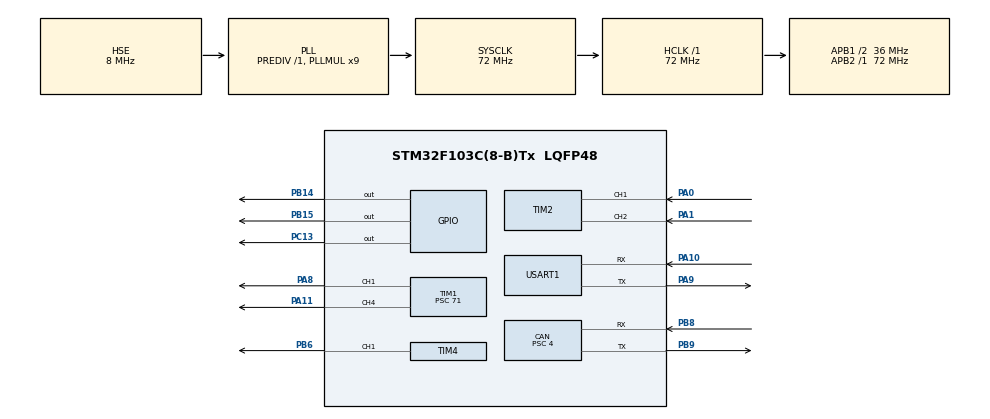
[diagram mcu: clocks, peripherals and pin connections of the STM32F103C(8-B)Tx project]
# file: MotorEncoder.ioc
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CAN.BS1=CAN_BS1_15TQ
CAN.BS2=CAN_BS2_2TQ
CAN.CalculateBaudRate=500000
CAN.CalculateTimeBit=2000
CAN.CalculateTimeQuantum=111.11111111111111
CAN.Mode=CAN_MODE_NORMAL
CAN.Prescaler=4
FREERTOS.Tasks01=mControl_PIDTas,24,128,Control_PIDTask,Default,NULL,Dynamic,NULL,NULL;mCAN_RecTask,8,128,CAN_RecTask,Default,NULL,Dynamic,NULL,NULL;myCAN_TransmitT,8,128,CAN_TransmitTask,Default,NULL,Dynamic,NULL,NULL
Mcu.Family=STM32F1
Mcu.Name=STM32F103C(8-B)Tx
Mcu.Package=LQFP48
Mcu.UserConstants=Servo_PWM,500
NVIC.PriorityGroup=NVIC_PRIORITYGROUP_4
NVIC.TIM2_IRQn=true\:5\:0\:false\:false\:true\:true\:true\:true\:true
NVIC.TIM3_IRQn=true\:15\:0\:false\:false\:true\:false\:false\:true\:true
NVIC.TimeBase=TIM3_IRQn
NVIC.TimeBaseIP=TIM3
NVIC.USB_HP_CAN1_TX_IRQn=true\:5\:0\:false\:false\:true\:true\:true\:true\:true
NVIC.USB_LP_CAN1_RX0_IRQn=true\:5\:0\:false\:false\:true\:true\:true\:true\:true
PA0-WKUP.Signal=S_TIM2_CH1_ETR
PA1.Signal=S_TIM2_CH2
PA10.Mode=Asynchronous
PA10.Signal=USART1_RX
PA11.Signal=S_TIM1_CH4
PA13.Mode=Serial_Wire
PA13.Signal=SYS_JTMS-SWDIO
PA14.Mode=Serial_Wire
PA14.Signal=SYS_JTCK-SWCLK
PA8.Signal=S_TIM1_CH1
PA9.Mode=Asynchronous
PA9.Signal=USART1_TX
PB14.Signal=GPIO_Output
PB15.Signal=GPIO_Output
PB6.Signal=S_TIM4_CH1
PB8.Mode=CAN_Activate
PB8.Signal=CAN_RX
PB9.Mode=CAN_Activate
PB9.Signal=CAN_TX
PC13-TAMPER-RTC.Signal=GPIO_Output
PD0-OSC_IN.Mode=HSE-External-Oscillator
PD0-OSC_IN.Signal=RCC_OSC_IN
PD1-OSC_OUT.Mode=HSE-External-Oscillator
PD1-OSC_OUT.Signal=RCC_OSC_OUT
ProjectManager.HeapSize=0x200
ProjectManager.StackSize=0x400
ProjectManager.TargetToolchain=STM32CubeIDE
RCC.AHBFreq_Value=72000000
RCC.APB1CLKDivider=RCC_HCLK_DIV2
RCC.APB1Freq_Value=36000000
RCC.APB1TimFreq_Value=72000000
RCC.APB2Freq_Value=72000000
RCC.APB2TimFreq_Value=72000000
RCC.HCLKFreq_Value=72000000
RCC.PLLMUL=RCC_PLL_MUL9
RCC.PLLSourceVirtual=RCC_PLLSOURCE_HSE
RCC.SYSCLKFreq_VALUE=72000000
RCC.SYSCLKSource=RCC_SYSCLKSOURCE_PLLCLK
RCC.USBFreq_Value=72000000
SH.S_TIM1_CH1.0=TIM1_CH1,PWM Generation1 CH1
SH.S_TIM1_CH4.0=TIM1_CH4,PWM Generation4 CH4
SH.S_TIM2_CH1_ETR.0=TIM2_CH1,Encoder_Interface
SH.S_TIM2_CH2.0=TIM2_CH2,Encoder_Interface
SH.S_TIM4_CH1.0=TIM4_CH1,PWM Generation1 CH1
TIM1.Channel-PWM\ Generation1\ CH1=TIM_CHANNEL_1
TIM1.Channel-PWM\ Generation4\ CH4=TIM_CHANNEL_4
TIM1.Period=99
TIM1.Prescaler=71
TIM2.EncoderMode=TIM_ENCODERMODE_TI12
TIM4.Channel-PWM\ Generation1\ CH1=TIM_CHANNEL_1
TIM4.Period=1000
TIM4.Prescaler=1439
USART1.VirtualMode=VM_ASYNC
VP_FREERTOS_VS_CMSIS_V2.Mode=CMSIS_V2
VP_SYS_VS_tim3.Mode=TIM3
VP_TIM1_VS_ClockSourceINT.Mode=Internal
VP_TIM4_VS_ClockSourceINT.Mode=Internal
board=custom

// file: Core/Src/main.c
/* USER CODE BEGIN Header */
/**
  ******************************************************************************
  * @file           : main.c
  * @brief          : Main program body
  ******************************************************************************
  * @attention
  *
  * Copyright (c) 2023 STMicroelectronics.
  * All rights reserved.
  *
  * This software is licensed under terms that can be found in the LICENSE file
  * in the root directory of this software component.
  * If no LICENSE file comes wi th this software, it is provided AS-IS.
  *
  ******************************************************************************
  */
/* USER CODE END Header */
#include "main.h"
#include "cmsis_os.h"
#include "can.h"
#include "tim.h"
#include "usart.h"
#include "gpio.h"

/* USER CODE BEGIN Includes */
#include <stdio.h>
/* USER CODE END Includes */

void SystemClock_Config(void);
void MX_FREERTOS_Init(void);

int main(void)
{

  /* MCU Configuration--------------------------------------------------------*/

  /* Reset of all peripherals, Initializes the Flash interface and the Systick. */
  HAL_Init();

  /* Configure the system clock */
  SystemClock_Config();

  /* Initialize all configured peripherals */
  MX_GPIO_Init();
  MX_TIM2_Init();
  MX_TIM1_Init();
  MX_TIM4_Init();
  MX_CAN_Init();
  MX_USART1_UART_Init();
  /* USER CODE BEGIN 2 */
  HAL_TIM_PWM_Start(&htim4, TIM_CHANNEL_1);
  HAL_TIM_PWM_Start(&htim1, TIM_CHANNEL_1);
  HAL_TIM_PWM_Start(&htim1, TIM_CHANNEL_4);
  HAL_TIM_Encoder_Start_IT(&htim2, TIM_CHANNEL_ALL);
  CAN_Config_filtering();
 if(HAL_CAN_ActivateNotification(&hcan, CAN_IT_TX_MAILBOX_EMPTY|CAN_IT_RX_FIFO0_MSG_PENDING)!=HAL_OK){
	 printf("Start CAN IT Error");
 }
  if(HAL_CAN_Start(&hcan)!=HAL_OK){
	 printf("Start CAN Error");
 }
  /* USER CODE END 2 */

  /* Init scheduler */
  osKernelInitialize();

  /* Call init function for freertos objects (in freertos.c) */
  MX_FREERTOS_Init();

  /* Start scheduler */
  osKernelStart();

  /* We should never get here as control is now taken by the scheduler */
  /* Infinite loop */
  while (1)
   {

   }
}

void SystemClock_Config(void)
{
  RCC_OscInitTypeDef RCC_OscInitStruct = {0};
  RCC_ClkInitTypeDef RCC_ClkInitStruct = {0};

  /** Initializes the RCC Oscillators according to the specified parameters
  * in the RCC_OscInitTypeDef structure.
  */
  RCC_OscInitStruct.OscillatorType = RCC_OSCILLATORTYPE_HSE;
  RCC_OscInitStruct.HSEState = RCC_HSE_ON;
  RCC_OscInitStruct.HSEPredivValue = RCC_HSE_PREDIV_DIV1;
  RCC_OscInitStruct.HSIState = RCC_HSI_ON;
  RCC_OscInitStruct.PLL.PLLState = RCC_PLL_ON;
  RCC_OscInitStruct.PLL.PLLSource = RCC_PLLSOURCE_HSE;
  RCC_OscInitStruct.PLL.PLLMUL = RCC_PLL_MUL9;
  if (HAL_RCC_OscConfig(&RCC_OscInitStruct) != HAL_OK)
  {
    Error_Handler();
  }

  /** Initializes the CPU, AHB and APB buses clocks
  */
  RCC_ClkInitStruct.ClockType = RCC_CLOCKTYPE_HCLK|RCC_CLOCKTYPE_SYSCLK
                              |RCC_CLOCKTYPE_PCLK1|RCC_CLOCKTYPE_PCLK2;
  RCC_ClkInitStruct.SYSCLKSource = RCC_SYSCLKSOURCE_PLLCLK;
  RCC_ClkInitStruct.AHBCLKDivider = RCC_SYSCLK_DIV1;
  RCC_ClkInitStruct.APB1CLKDivider = RCC_HCLK_DIV2;
  RCC_ClkInitStruct.APB2CLKDivider = RCC_HCLK_DIV1;

  if (HAL_RCC_ClockConfig(&RCC_ClkInitStruct, FLASH_LATENCY_2) != HAL_OK)
  {
    Error_Handler();
  }
}

void HAL_TIM_PeriodElapsedCallback(TIM_HandleTypeDef *htim)
{
  if (htim->Instance == TIM3) {
    HAL_IncTick();
  }
}

void Error_Handler(void)
{
  __disable_irq();
  while (1)
  {
  }
}

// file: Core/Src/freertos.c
/* USER CODE BEGIN Header */
/**
  ******************************************************************************
  * File Name          : freertos.c
  * Description        : Code for freertos applications
  ******************************************************************************
  * @attention
  *
  * Copyright (c) 2023 STMicroelectronics.
  * All rights reserved.
  *
  * This software is licensed under terms that can be found in the LICENSE file
  * in the root directory of this software component.
  * If no LICENSE file comes with this software, it is provided AS-IS.
  *
  ******************************************************************************
  */
/* USER CODE END Header */

#include "FreeRTOS.h"
#include "task.h"
#include "main.h"
#include "cmsis_os.h"

/* USER CODE BEGIN Includes */
#include <stdio.h>
#include "Motor_Driver.h"
#include <string.h>
#include "EncoderVelocity.h"
#include "PID.h"
#include "CAN_Handle.h"
/* USER CODE END Includes */

/* USER CODE BEGIN Variables */
extern uint8_t rcdata[8];
extern uint8_t Can_RecFlag;
  double VelSetpoint;
  Encoder Enco;
  double speed;
  double PIDOut,PWM;
  PID_TypeDef TPID;
  VNH3SP30_t driver;
/* USER CODE END Variables */
/* Definitions for mControl_PIDTas */
osThreadId_t mControl_PIDTasHandle;
const osThreadAttr_t mControl_PIDTas_attributes = {
  .name = "mControl_PIDTas",
  .stack_size = 128 * 4,
  .priority = (osPriority_t) osPriorityNormal,
};
/* Definitions for mCAN_RecTask */
osThreadId_t mCAN_RecTaskHandle;
const osThreadAttr_t mCAN_RecTask_attributes = {
  .name = "mCAN_RecTask",
  .stack_size = 128 * 4,
  .priority = (osPriority_t) osPriorityLow,
};
/* Definitions for myCAN_TransmitT */
osThreadId_t myCAN_TransmitTHandle;
const osThreadAttr_t myCAN_TransmitT_attributes = {
  .name = "myCAN_TransmitT",
  .stack_size = 128 * 4,
  .priority = (osPriority_t) osPriorityLow,
};

void Control_PIDTask(void *argument);
void CAN_RecTask(void *argument);
void CAN_TransmitTask(void *argument);

void MX_FREERTOS_Init(void); /* (MISRA C 2004 rule 8.1) */

void MX_FREERTOS_Init(void) {
  /* USER CODE BEGIN Init */
	VelSetpoint = 2;
	VNH3SP30_Init(&driver);
	Encoder_Init(&Enco);
	PID(&TPID, &speed, &PIDOut, &VelSetpoint, 4, 0, 3, _PID_P_ON_E, _PID_CD_DIRECT);
	PID_SetMode(&TPID, _PID_MODE_AUTOMATIC);
	PID_SetSampleTime(&TPID, 50);
	PID_SetOutputLimits(&TPID, -1, 1);
  /* USER CODE END Init */

  /* Create the thread(s) */
  /* creation of mControl_PIDTas */
  mControl_PIDTasHandle = osThreadNew(Control_PIDTask, NULL, &mControl_PIDTas_attributes);

  /* creation of mCAN_RecTask */
  mCAN_RecTaskHandle = osThreadNew(CAN_RecTask, NULL, &mCAN_RecTask_attributes);

  /* creation of myCAN_TransmitT */
  myCAN_TransmitTHandle = osThreadNew(CAN_TransmitTask, NULL, &myCAN_TransmitT_attributes);

}

void Control_PIDTask(void *argument)
{
  /* USER CODE BEGIN Control_PIDTask */
	uint32_t Time=50;
  /* Infinite loop */
  for(;;)
  {
	  PWM += PIDOut;
	  VNH3SP30_SetSpeed(&driver,PWM);
	  Encoder_CaculateSpeed(&Enco,Time);
	  speed=Get_Speed(&Enco);
	  PID_Compute(&TPID);
	  osDelay(Time);
  }
  /* USER CODE END Control_PIDTask */
}

void CAN_RecTask(void *argument)
{
  /* USER CODE BEGIN CAN_RecTask */
  /* Infinite loop */
  for(;;)
  {
	  if(Can_RecFlag==1){
		  HAL_GPIO_TogglePin(GPIOC, GPIO_PIN_13);
	  }
    osDelay(200);
  }
  /* USER CODE END CAN_RecTask */
}

void CAN_TransmitTask(void *argument)
{
  for(;;)
  {
    osDelay(1);
  }
}
